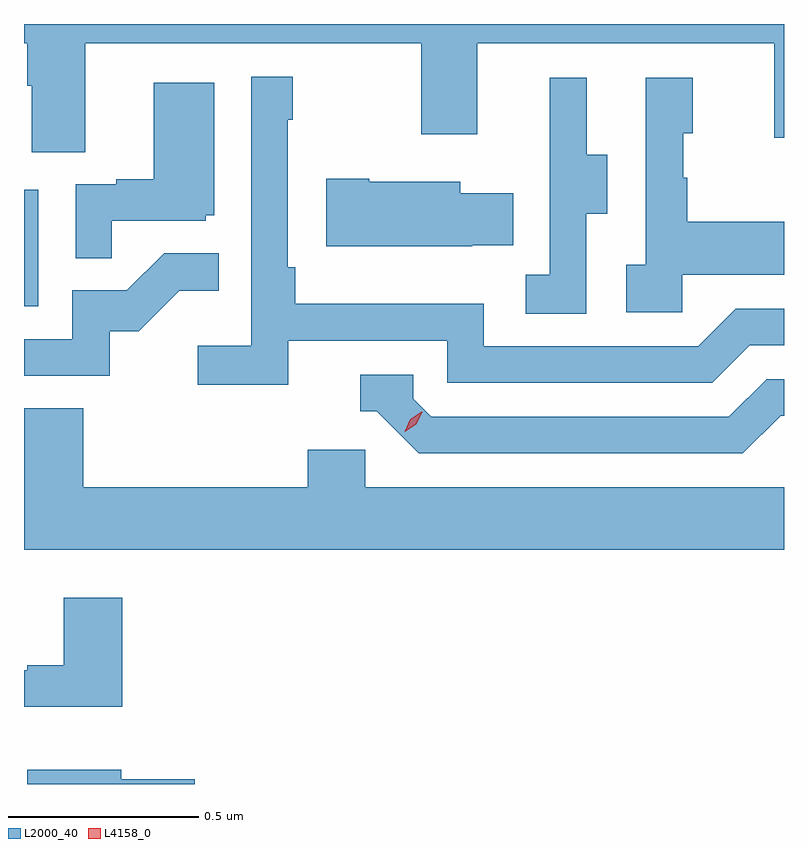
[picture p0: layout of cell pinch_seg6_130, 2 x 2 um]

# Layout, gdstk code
import gdstk
lib = gdstk.Library(unit=1e-6, precision=1e-09)
def R(c, l, rs):  # rectangles x0, y0, x1, y1
    for r in rs: c.add(gdstk.rectangle(r[:2], r[2:], *l))
def P(c, l, *ps):  # polygons
    for p in ps: c.add(gdstk.Polygon(p, *l))
L2000_40 = (2000, 40)
L4158_0 = (4158, 0)

pinch_seg6_130 = lib.new_cell('pinch_seg6_130')
R(pinch_seg6_130, L2000_40, [(993.728,935.988,993.766,936.295)])
P(pinch_seg6_130, L2000_40, [(993.889,936.68),(994.774,936.68),(994.774,936.441),(994.921,936.441),(994.921,936.68),(995.702,936.68),(995.702,936.432),(995.728,936.432),(995.728,936.731),(993.728,936.731),(993.728,936.68),(993.737,936.68),(993.737,936.568),(993.749,936.568),(993.749,936.394),(993.889,936.394)],
  [(994.424,935.898),(994.842,935.898),(994.842,935.787),(995.539,935.787),(995.638,935.886),(995.728,935.886),(995.728,935.982),(995.601,935.982),(995.502,935.883),(994.938,935.883),(994.938,935.995),(994.442,935.995),(994.442,936.091),(994.422,936.091),(994.422,936.479),(994.435,936.479),(994.435,936.592),(994.326,936.592),(994.326,935.884),(994.185,935.884),(994.185,935.782),(994.424,935.782)],
  [(995.46,936.071),(995.728,936.071),(995.728,936.211),(995.473,936.211),(995.473,936.326),(995.463,936.326),(995.463,936.444),(995.488,936.444),(995.488,936.589),(995.364,936.589),(995.364,936.098),(995.313,936.098),(995.313,935.973),(995.46,935.973)],
  [(995.208,936.232),(995.263,936.232),(995.263,936.387),(995.209,936.387),(995.209,936.589),(995.111,936.589),(995.111,936.375),(995.112,936.375),(995.112,936.071),(995.049,936.071),(995.049,935.968),(995.208,935.968)],
  [(993.959,936.213),(994.206,936.213),(994.206,936.228),(994.228,936.228),(994.228,936.577),(994.07,936.577),(994.07,936.322),(993.971,936.322),(993.971,936.309),(993.864,936.309),(993.864,936.115),(993.959,936.115)],
  [(994.907,936.149),(995.015,936.149),(995.015,936.286),(994.876,936.286),(994.876,936.316),(994.636,936.316),(994.636,936.324),(994.524,936.324),(994.524,936.146),(994.907,936.146)],
  [(993.954,935.922),(994.03,935.922),(994.137,936.029),(994.241,936.029),(994.241,936.128),(994.097,936.128),(993.999,936.03),(993.855,936.03),(993.855,935.901),(993.728,935.901),(993.728,935.805),(993.954,935.805)],
  [(995.719,935.7),(995.728,935.7),(995.728,935.796),(995.682,935.796),(995.583,935.697),(994.8,935.697),(994.752,935.745),(994.752,935.808),(994.613,935.808),(994.613,935.712),(994.656,935.712),(994.767,935.601),(995.62,935.601)],
  [(995.728,935.512),(994.626,935.512),(994.626,935.61),(994.475,935.61),(994.475,935.512),(993.884,935.512),(993.884,935.72),(993.728,935.72),(993.728,935.348),(995.728,935.348)],
  [(993.986,935.221),(993.833,935.221),(993.833,935.044),(993.737,935.044),(993.737,935.031),(993.728,935.031),(993.728,934.934),(993.986,934.934)],
  [(994.177,934.744),(993.984,934.744),(993.984,934.768),(993.737,934.768),(993.737,934.731),(994.177,934.731)])
P(pinch_seg6_130, L4158_0, [(994.73,935.658),(994.73,935.658),(994.745,935.691),(994.775,935.711),(994.776,935.711),(994.776,935.711),(994.76,935.678),(994.73,935.658)])

lib.write_gds('pinch_seg6_130.gds')
